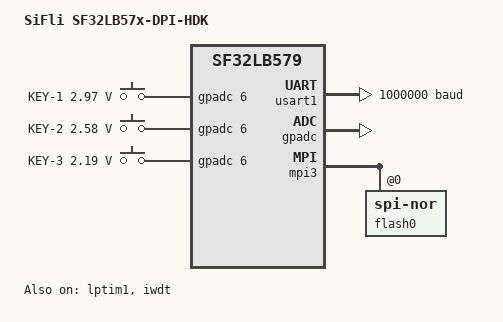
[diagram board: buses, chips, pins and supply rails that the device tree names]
// SPDX-FileCopyrightText: 2026 Core Devices LLC
// SPDX-License-Identifier: (GPL-2.0-only OR BSD-2-Clause)

/dts-v1/;

#include "sifli/sf32lb579.dtsi"
#include "sifli/sf32lb57xv6e.dtsi"
#include "sf32lb57_dpi_hdk-pinctrl.dtsi"

#include <dt-bindings/input/input.h>
#include <dt-bindings/interrupt-controller/irq.h>

/ {
	model = "SiFli SF32LB57x-DPI-HDK";
	compatible = "sifli,sf32lb57-dpi-hdk", "sifli,sf32lb579";

	// KEY-1..3 pull PA34 up through a ladder, which raises its GPIO too
	adc-keys {
		compatible = "adc-keys-irq";
		io-channels = <&gpadc 6>;
		io-channel-names = "buttons";
		interrupts-extended = <&gpio1 34 IRQ_TYPE_EDGE_BOTH>;
		pinctrl-0 = <&keys_default>;
		pinctrl-names = "default";
		keyup-threshold-microvolt = <0>;

		button-up {
			label = "KEY-1";
			linux,code = <KEY_UP>;
			press-threshold-microvolt = <2970000>;
		};

		button-select {
			label = "KEY-2";
			linux,code = <KEY_SELECT>;
			press-threshold-microvolt = <2580000>;
		};

		button-down {
			label = "KEY-3";
			linux,code = <KEY_DOWN>;
			press-threshold-microvolt = <2190000>;
		};
	};
};

&usart1 {
	pinctrl-0 = <&usart1_default>;
	pinctrl-names = "default";
	current-speed = <1000000>;
	status = "okay";
};

&lptim1 {
	status = "okay";
};

&iwdt {
	status = "okay";
};

&gpadc {
	status = "okay";
};

// No MPI driver on the SF32LB57 yet: the flash runs as the boot ROM sets it up
&sip_flash {
	partitions {
		compatible = "fixed-partitions";
		#address-cells = <1>;
		#size-cells = <1>;

		partition@0 {
			label = "ptable";
			reg = <0x0 0x10000>;
		};

		partition@20000 {
			label = "firmware-slot-0";
			reg = <0x20000 0x300000>;
		};
	};
};

&mpi3 {
	flash0: flash@0 {
		compatible = "jedec,spi-nor";
		reg = <0>;
		spi-rx-bus-width = <4>;
		spi-tx-bus-width = <4>;
	};
};
